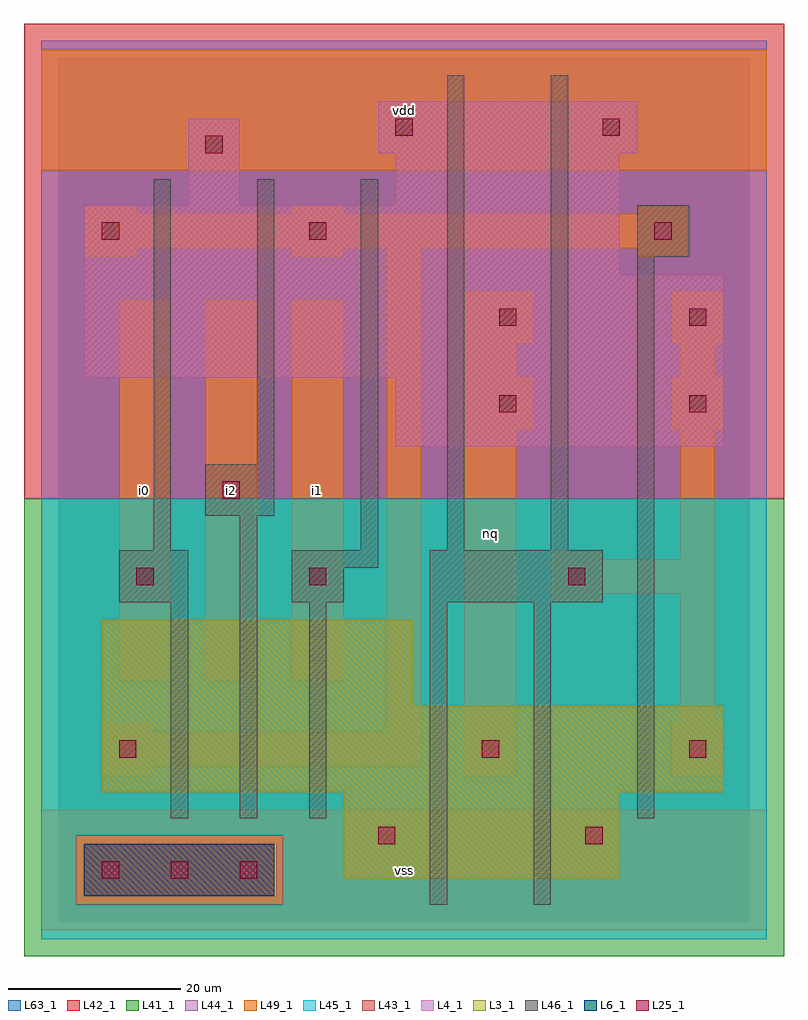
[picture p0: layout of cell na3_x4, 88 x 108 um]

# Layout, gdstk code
import gdstk
lib = gdstk.Library(unit=1e-6, precision=1e-09)
def R(c, l, rs):  # rectangles x0, y0, x1, y1
    for r in rs: c.add(gdstk.rectangle(r[:2], r[2:], *l))
def A(c, l, x, y, w, h, nx, ny, dx, dy):  # array of equal rectangles
    R(c, l, [(x+i*dx, y+j*dy, x+i*dx+w, y+j*dy+h) for i in range(nx) for j in range(ny)])
L3_1 = (3, 1)
L4_1 = (4, 1)
L6_1 = (6, 1)
L25_1 = (25, 1)
L41_1 = (41, 1)
L42_1 = (42, 1)
L43_1 = (43, 1)
L44_1 = (44, 1)
L45_1 = (45, 1)
L46_1 = (46, 1)
L49_1 = (49, 1)
L63_1 = (63, 1)

na3_x4 = lib.new_cell('na3_x4')
R(na3_x4, L3_1, [(33,5,65,15), (5,15,77,25), (5,25,41,35)])
R(na3_x4, L4_1, [(39,55,77,63), (3,63,77,75), (3,75,65,83), (15,83,21,93), (39,83,65,89), (37,89,67,95)])
R(na3_x4, L6_1, [(3,3,25,9)])
A(na3_x4, L25_1, 5, 5, 2, 2, 3, 1, 8, 0)
R(na3_x4, L25_1, [(37,9,39,11), (61,9,63,11), (7,19,9,21), (49,19,51,21), (73,19,75,21), (9,39,11,41), (29,39,31,41), (59,39,61,41), (19,49,21,51), (51,59,53,61), (73,59,75,61), (51,69,53,71), (73,69,75,71), (5,79,7,81), (29,79,31,81), (69,79,71,81), (17,89,19,91), (39,91,41,93), (63,91,65,93)])
R(na3_x4, L41_1, [(-4,-4,84,49)])
R(na3_x4, L42_1, [(-4,49,84,104)])
R(na3_x4, L43_1, [(3,3,25,9), (33,5,65,15), (5,15,77,25), (5,25,41,35), (39,55,77,63), (3,63,77,75), (3,75,65,83), (15,83,21,93), (39,83,65,89), (37,89,67,95)])
R(na3_x4, L44_1, [(2,2,26,10), (-2,49,82,102)])
R(na3_x4, L45_1, [(-2,-2,82,2), (-2,2,2,10), (26,2,82,10), (-2,10,82,49)])
R(na3_x4, L46_1, [(43,2,45,37), (55,2,57,37), (13,12,15,37), (21,12,23,47), (29,12,31,37), (67,12,69,77), (7,37,15,43), (27,37,33,41), (43,37,63,43), (27,41,37,43), (11,43,13,86), (35,43,37,86), (45,43,47,98), (57,43,59,98), (17,47,25,53), (23,53,25,86), (67,77,73,83)])
A(na3_x4, L49_1, 7, 28, 6, 44, 3, 1, 10, 0)
R(na3_x4, L49_1, [(-2,-1,82,13), (5,17,11,18), (47,17,53,57), (71,17,77,23), (5,18,42,22), (5,22,11,23), (38,22,42,78), (72,23,76,38), (57,37,63,38), (57,38,76,42), (57,42,63,43), (72,42,76,57), (47,57,55,63), (71,57,77,63), (47,63,53,67), (72,63,76,67), (47,67,55,73), (71,67,77,73), (3,77,9,78), (27,77,33,78), (67,77,73,78), (3,78,73,82), (3,82,9,83), (27,82,33,83), (67,82,73,83), (-2,87,82,101)])
R(na3_x4, L63_1, [(0,0,80,100)])
na3_x4.add(gdstk.Label('i0', (10,50), layer=49, texttype=1))
na3_x4.add(gdstk.Label('i0', (10,50), layer=49, texttype=1))
na3_x4.add(gdstk.Label('i1', (30,50), layer=49, texttype=1))
na3_x4.add(gdstk.Label('i1', (30,50), layer=49, texttype=1))
na3_x4.add(gdstk.Label('i2', (20,50), layer=49, texttype=1))
na3_x4.add(gdstk.Label('i2', (20,50), layer=49, texttype=1))
na3_x4.add(gdstk.Label('vss', (40,6), layer=49, texttype=1))
na3_x4.add(gdstk.Label('vss', (40,6), layer=49, texttype=1))
na3_x4.add(gdstk.Label('nq', (50,45), layer=49, texttype=1))
na3_x4.add(gdstk.Label('nq', (50,45), layer=49, texttype=1))
na3_x4.add(gdstk.Label('vdd', (40,94), layer=49, texttype=1))
na3_x4.add(gdstk.Label('vdd', (40,94), layer=49, texttype=1))

lib.write_gds('na3_x4.gds')
